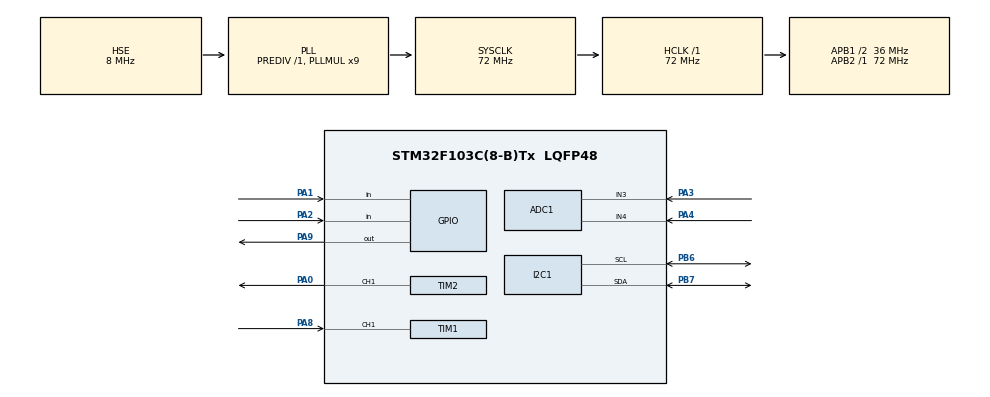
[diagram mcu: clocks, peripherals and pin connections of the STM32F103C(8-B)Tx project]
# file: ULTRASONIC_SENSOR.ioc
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ADC1.Channel-0\#ChannelRegularConversion=ADC_CHANNEL_3
ADC1.Channel-1\#ChannelRegularConversion=ADC_CHANNEL_4
ADC1.ContinuousConvMode=ENABLE
ADC1.NbrOfConversion=2
ADC1.NbrOfConversionFlag=1
ADC1.Rank-0\#ChannelRegularConversion=1
ADC1.Rank-1\#ChannelRegularConversion=2
ADC1.SamplingTime-0\#ChannelRegularConversion=ADC_SAMPLETIME_239CYCLES_5
ADC1.SamplingTime-1\#ChannelRegularConversion=ADC_SAMPLETIME_239CYCLES_5
ADC1.master=1
Dma.ADC1.0.Direction=DMA_PERIPH_TO_MEMORY
Dma.ADC1.0.Instance=DMA1_Channel1
Dma.ADC1.0.MemDataAlignment=DMA_MDATAALIGN_WORD
Dma.ADC1.0.MemInc=DMA_MINC_ENABLE
Dma.ADC1.0.Mode=DMA_CIRCULAR
Dma.ADC1.0.PeriphDataAlignment=DMA_PDATAALIGN_WORD
Dma.ADC1.0.PeriphInc=DMA_PINC_DISABLE
Dma.ADC1.0.Priority=DMA_PRIORITY_LOW
Dma.Request0=ADC1
Mcu.Family=STM32F1
Mcu.Name=STM32F103C(8-B)Tx
Mcu.Package=LQFP48
NVIC.DMA1_Channel1_IRQn=true\:0\:0\:false\:false\:true\:false\:true\:true
NVIC.PriorityGroup=NVIC_PRIORITYGROUP_4
NVIC.TIM1_BRK_IRQn=true\:0\:0\:false\:false\:true\:true\:true\:true
NVIC.TIM1_CC_IRQn=true\:0\:0\:false\:false\:true\:true\:true\:true
NVIC.TIM1_TRG_COM_IRQn=true\:0\:0\:false\:false\:true\:true\:true\:true
NVIC.TIM1_UP_IRQn=true\:0\:0\:false\:false\:true\:true\:true\:true
PA0-WKUP.Signal=S_TIM2_CH1_ETR
PA1.GPIO_PuPd=GPIO_PULLDOWN
PA1.Signal=GPIO_Input
PA13.Mode=Serial_Wire
PA13.Signal=SYS_JTMS-SWDIO
PA14.Mode=Serial_Wire
PA14.Signal=SYS_JTCK-SWCLK
PA2.GPIO_PuPd=GPIO_PULLDOWN
PA2.Signal=GPIO_Input
PA3.Signal=ADCx_IN3
PA4.Signal=ADCx_IN4
PA8.Signal=S_TIM1_CH1
PA9.Signal=GPIO_Output
PB6.Mode=I2C
PB6.Signal=I2C1_SCL
PB7.Mode=I2C
PB7.Signal=I2C1_SDA
PD0-OSC_IN.Mode=HSE-External-Oscillator
PD0-OSC_IN.Signal=RCC_OSC_IN
PD1-OSC_OUT.Mode=HSE-External-Oscillator
PD1-OSC_OUT.Signal=RCC_OSC_OUT
ProjectManager.HeapSize=0x200
ProjectManager.StackSize=0x400
ProjectManager.TargetToolchain=STM32CubeIDE
RCC.AHBFreq_Value=72000000
RCC.APB1CLKDivider=RCC_HCLK_DIV2
RCC.APB1Freq_Value=36000000
RCC.APB1TimFreq_Value=72000000
RCC.APB2Freq_Value=72000000
RCC.APB2TimFreq_Value=72000000
RCC.HCLKFreq_Value=72000000
RCC.PLLMUL=RCC_PLL_MUL9
RCC.PLLSourceVirtual=RCC_PLLSOURCE_HSE
RCC.SYSCLKFreq_VALUE=72000000
RCC.SYSCLKSource=RCC_SYSCLKSOURCE_PLLCLK
RCC.USBFreq_Value=72000000
SH.ADCx_IN3.0=ADC1_IN3,IN3
SH.ADCx_IN4.0=ADC1_IN4,IN4
SH.S_TIM1_CH1.0=TIM1_CH1,Input_Capture1_from_TI1
SH.S_TIM2_CH1_ETR.0=TIM2_CH1,PWM Generation1 CH1
TIM1.Channel-Input_Capture1_from_TI1=TIM_CHANNEL_1
TIM1.Period=0xffff-1
TIM1.Prescaler=72-1
TIM2.Channel-PWM\ Generation1\ CH1=TIM_CHANNEL_1
TIM2.Period=655
VP_TIM1_VS_ClockSourceINT.Mode=Internal
VP_TIM2_VS_ClockSourceINT.Mode=Internal
board=custom

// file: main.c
/* USER CODE BEGIN Header */
/**
  ******************************************************************************
  * @file           : main.c
  * @brief          : Main program body
  ******************************************************************************
  * @attention
  *
  * <h2><center>&copy; Copyright (c) 2020 STMicroelectronics.
  * All rights reserved.</center></h2>
  *
  * This software component is licensed by ST under BSD 3-Clause license,
  * the "License"; You may not use this file except in compliance with the
  * License. You may obtain a copy of the License at:
  *                        opensource.org/licenses/BSD-3-Clause
  *
  ******************************************************************************
  */
/* USER CODE END Header */
#include "main.h"

/* USER CODE BEGIN Includes */

#include "i2c-lcd.h"
#include "DC_MOTOR.h"
#include "JOYSTIC.h"

/* USER CODE END Includes */

ADC_HandleTypeDef hadc1;
DMA_HandleTypeDef hdma_adc1;

I2C_HandleTypeDef hi2c1;

TIM_HandleTypeDef htim1;
TIM_HandleTypeDef htim2;

void SystemClock_Config(void);
static void MX_GPIO_Init(void);
static void MX_DMA_Init(void);
static void MX_TIM1_Init(void);
static void MX_I2C1_Init(void);
static void MX_TIM2_Init(void);
static void MX_ADC1_Init(void);
/* USER CODE BEGIN PFP */

#define SYSTEM  AUTO

uint8_t Value_INCl; // Flag used to choose between automatic ACC,MANUAL CONTROL
uint8_t MANUAL_FLAG;
uint8_t AUTO_FLAG ;

uint8_t COUNTER_CHOICE = 0;

#define CRASH_DIST  3

/* USER CODE END PFP */

/* USER CODE BEGIN 0 */

void delay (uint16_t time)
{
	__HAL_TIM_SET_COUNTER(&htim1, 0);
	while (__HAL_TIM_GET_COUNTER (&htim1) < time);
}

uint8_t ICU_COUNTER = 0 ;
uint8_t B1_VAL;
uint8_t B2_VAL;
uint32_t ICU_VALUE ;

float Distance  = 0;
uint8_t Distance1 = 0;

#define TRIG_PIN GPIO_PIN_9
#define TRIG_PORT GPIOA

// Let's write the callback function

void ICU_CHECK_CALL()
{
	HAL_GPIO_WritePin(GPIOA, GPIO_PIN_9, 1);

}

void HAL_TIM_IC_CaptureCallback(TIM_HandleTypeDef *htim)
{

	ICU_CHECK_CALL();

	++ ICU_COUNTER ;

	if( ICU_COUNTER == 1 ) // Rising Edge is detected
	{
		/* 1 >> Clear the Timer Vlaue
		 * 2 >> Set The falling edge ICU
		 * 3 >> Set ICU COUNTER to 2
		 * **/

		__HAL_TIM_SET_COUNTER(htim,0);

		__HAL_TIM_SET_CAPTUREPOLARITY(htim,TIM_CHANNEL_1,TIM_INPUTCHANNELPOLARITY_FALLING);

	}

	else if(ICU_COUNTER == 2)
	{

		/* obtain the counter value
		 * Set Polarity as rising
		 * */

		ICU_VALUE  = HAL_TIM_ReadCapturedValue(htim, TIM_CHANNEL_1);

		__HAL_TIM_SET_CAPTUREPOLARITY(htim,TIM_CHANNEL_1,TIM_INPUTCHANNELPOLARITY_RISING);

		__HAL_TIM_SET_COUNTER(htim,0);

	}

	else
	{
		ICU_COUNTER = 0;
	}

}

void HCSR04_Read (void)
{
	HAL_GPIO_WritePin(TRIG_PORT, TRIG_PIN, GPIO_PIN_SET);  // pull the TRIG pin HIGH
	HAL_Delay(10);  // wait for 10 us
	HAL_GPIO_WritePin(TRIG_PORT, TRIG_PIN, GPIO_PIN_RESET);  // pull the TRIG pin low

	__HAL_TIM_ENABLE_IT(&htim1, TIM_IT_CC1);
}

void HCSR04_GETREAD()
{
	Distance =  (uint16_t)(ICU_VALUE / 58.5)  ;
}

void DELAY(uint32_t number)
{
	HAL_Delay(number);
}

uint8_t SYS_CHECKER()
{
	lcd_clear();
	lcd_put_cur(0, 0);
	lcd_send_string("1 >> MANUAL");
	lcd_put_cur(1, 0);
	lcd_send_string("2 >> AUTOMATIC");

	while(COUNTER_CHOICE == 0)
	{
		if(HAL_GPIO_ReadPin(GPIOA, GPIO_PIN_1) == 1)
		{
			COUNTER_CHOICE = 1;
			break;
		}

		if(HAL_GPIO_ReadPin(GPIOA, GPIO_PIN_2) == 1)
		{
			COUNTER_CHOICE = 2;
			break;
		}

	}

	return COUNTER_CHOICE;

}

void Critical_PADAL_MANUAL_CONTROL()
{
	/* Case the distance is less than 3 cm in manual control  */

	if(Distance <= CRASH_DIST)
	{
		DC_MOTOR_SetSpeed(0); // Suddenly stop the car
	}

	else
	{
		PEDAL_MANUAL_MOTOR_CONTROL();
	}
}

void MOTOLR_AUTOMATIC_CONTROL()
{

	/*
	 * Automatic controlling the motor speed based ULTRASONIC Readings
	 * */

	lcd_clear();
	lcd_put_cur(0, 0);
	lcd_send_string("Dist:");
	lcd_Send_num(Distance);

	lcd_put_cur(0, 9);
	lcd_send_string("AUTO");

	if(Distance <= CRASH_DIST )
	{
		DC_MOTOR_SetSpeed(0);
	}

	else if(Distance <= 10 && Distance >= 6  )
	{// ULTRASONIC READING IS ZERO
		DC_MOTOR_SetSpeed(150);
	}

	else if(Distance <= 11 && Distance >= 20)
	{// ULTRASONIC READING IS ZERO
		DC_MOTOR_SetSpeed(300);
	}

	else if(Distance <= 21 && Distance >= 41)
	{// ULTRASONIC READING IS ZERO

		DC_MOTOR_SetSpeed(400);
	}

	else
	{ // ULTRASONIC READING IS ZERO
		DC_MOTOR_SetSpeed(600);
	}

}

void PEDAL_MANUAL_MOTOR_CONTROL()
{

	lcd_clear();

	lcd_put_cur(0, 0);
	lcd_send_string("Dist:");
	lcd_Send_num(Distance);

	lcd_put_cur(0, 9);
	lcd_send_string("MANUAL");

	  if(PADAL_X_AXIS_READ() <= 500)
	  {
		  DC_MOTOR_SetSpeed(600);
	  }

	  else if(PADAL_X_AXIS_READ() != 0)
	  {
		  DC_MOTOR_SetSpeed(0);
	  }

	  if(Distance <= CRASH_DIST )
	  {
		  /*
		   * Crash Critical distance
		   * */
		  Critical_PADAL_MANUAL_CONTROL();
	  }

}

uint8_t RESULT;

void APP_START()
{
	  HCSR04_Read();
	  HCSR04_GETREAD();

	  RESULT =  SYS_CHECKER();

	  lcd_put_cur(0, 0);
	  lcd_send_string("Dist:");
	  lcd_put_cur(0, 6);
	  lcd_Send_num(Distance);

	  switch(RESULT)
	  {

	  case 1 : PEDAL_MANUAL_MOTOR_CONTROL();
		  break;
	  case 2 : MOTOLR_AUTOMATIC_CONTROL();
		  break;

	  }

	  lcd_put_cur(1, 0);
	  lcd_Send_num(PADAL_X_AXIS_READ());

	  HAL_Delay(250);
	  lcd_clear();

}

/* USER CODE END 0 */

int main(void)
{

  /* MCU Configuration--------------------------------------------------------*/

  /* Reset of all peripherals, Initializes the Flash interface and the Systick. */
  HAL_Init();

  /* Configure the system clock */
  SystemClock_Config();

  /* Initialize all configured peripherals */
  MX_GPIO_Init();
  MX_DMA_Init();
  MX_TIM1_Init();
  MX_I2C1_Init();
  MX_TIM2_Init();
  MX_ADC1_Init();
  /* USER CODE BEGIN 2 */
  HAL_TIM_IC_Start(&htim1,TIM_CHANNEL_1);
  lcd_init();
  DC_MOTOR_INTI();

  PADAL_START();

  /* USER CODE END 2 */

  /* Infinite loop */
  while (1)
  {

	  APP_START();

  }
}

void SystemClock_Config(void)
{
  RCC_OscInitTypeDef RCC_OscInitStruct = {0};
  RCC_ClkInitTypeDef RCC_ClkInitStruct = {0};
  RCC_PeriphCLKInitTypeDef PeriphClkInit = {0};

  /** Initializes the RCC Oscillators according to the specified parameters
  * in the RCC_OscInitTypeDef structure.
  */
  RCC_OscInitStruct.OscillatorType = RCC_OSCILLATORTYPE_HSE;
  RCC_OscInitStruct.HSEState = RCC_HSE_ON;
  RCC_OscInitStruct.HSEPredivValue = RCC_HSE_PREDIV_DIV1;
  RCC_OscInitStruct.HSIState = RCC_HSI_ON;
  RCC_OscInitStruct.PLL.PLLState = RCC_PLL_ON;
  RCC_OscInitStruct.PLL.PLLSource = RCC_PLLSOURCE_HSE;
  RCC_OscInitStruct.PLL.PLLMUL = RCC_PLL_MUL9;
  if (HAL_RCC_OscConfig(&RCC_OscInitStruct) != HAL_OK)
  {
    Error_Handler();
  }

  /** Initializes the CPU, AHB and APB buses clocks
  */
  RCC_ClkInitStruct.ClockType = RCC_CLOCKTYPE_HCLK|RCC_CLOCKTYPE_SYSCLK
                              |RCC_CLOCKTYPE_PCLK1|RCC_CLOCKTYPE_PCLK2;
  RCC_ClkInitStruct.SYSCLKSource = RCC_SYSCLKSOURCE_PLLCLK;
  RCC_ClkInitStruct.AHBCLKDivider = RCC_SYSCLK_DIV1;
  RCC_ClkInitStruct.APB1CLKDivider = RCC_HCLK_DIV2;
  RCC_ClkInitStruct.APB2CLKDivider = RCC_HCLK_DIV1;

  if (HAL_RCC_ClockConfig(&RCC_ClkInitStruct, FLASH_LATENCY_2) != HAL_OK)
  {
    Error_Handler();
  }
  PeriphClkInit.PeriphClockSelection = RCC_PERIPHCLK_ADC;
  PeriphClkInit.AdcClockSelection = RCC_ADCPCLK2_DIV2;
  if (HAL_RCCEx_PeriphCLKConfig(&PeriphClkInit) != HAL_OK)
  {
    Error_Handler();
  }
}

static void MX_ADC1_Init(void)
{

  ADC_ChannelConfTypeDef sConfig = {0};

  /** Common config
  */
  hadc1.Instance = ADC1;
  hadc1.Init.ScanConvMode = ADC_SCAN_ENABLE;
  hadc1.Init.ContinuousConvMode = ENABLE;
  hadc1.Init.DiscontinuousConvMode = DISABLE;
  hadc1.Init.ExternalTrigConv = ADC_SOFTWARE_START;
  hadc1.Init.DataAlign = ADC_DATAALIGN_RIGHT;
  hadc1.Init.NbrOfConversion = 2;
  if (HAL_ADC_Init(&hadc1) != HAL_OK)
  {
    Error_Handler();
  }

  /** Configure Regular Channel
  */
  sConfig.Channel = ADC_CHANNEL_3;
  sConfig.Rank = ADC_REGULAR_RANK_1;
  sConfig.SamplingTime = ADC_SAMPLETIME_239CYCLES_5;
  if (HAL_ADC_ConfigChannel(&hadc1, &sConfig) != HAL_OK)
  {
    Error_Handler();
  }

  /** Configure Regular Channel
  */
  sConfig.Channel = ADC_CHANNEL_4;
  sConfig.Rank = ADC_REGULAR_RANK_2;
  if (HAL_ADC_ConfigChannel(&hadc1, &sConfig) != HAL_OK)
  {
    Error_Handler();
  }

}

static void MX_I2C1_Init(void)
{

  hi2c1.Instance = I2C1;
  hi2c1.Init.ClockSpeed = 100000;
  hi2c1.Init.DutyCycle = I2C_DUTYCYCLE_2;
  hi2c1.Init.OwnAddress1 = 0;
  hi2c1.Init.AddressingMode = I2C_ADDRESSINGMODE_7BIT;
  hi2c1.Init.DualAddressMode = I2C_DUALADDRESS_DISABLE;
  hi2c1.Init.OwnAddress2 = 0;
  hi2c1.Init.GeneralCallMode = I2C_GENERALCALL_DISABLE;
  hi2c1.Init.NoStretchMode = I2C_NOSTRETCH_DISABLE;
  if (HAL_I2C_Init(&hi2c1) != HAL_OK)
  {
    Error_Handler();
  }

}

static void MX_TIM1_Init(void)
{

  TIM_ClockConfigTypeDef sClockSourceConfig = {0};
  TIM_MasterConfigTypeDef sMasterConfig = {0};
  TIM_IC_InitTypeDef sConfigIC = {0};

  htim1.Instance = TIM1;
  htim1.Init.Prescaler = 72-1;
  htim1.Init.CounterMode = TIM_COUNTERMODE_UP;
  htim1.Init.Period = 0xffff-1;
  htim1.Init.ClockDivision = TIM_CLOCKDIVISION_DIV1;
  htim1.Init.RepetitionCounter = 0;
  htim1.Init.AutoReloadPreload = TIM_AUTORELOAD_PRELOAD_DISABLE;
  if (HAL_TIM_Base_Init(&htim1) != HAL_OK)
  {
    Error_Handler();
  }
  sClockSourceConfig.ClockSource = TIM_CLOCKSOURCE_INTERNAL;
  if (HAL_TIM_ConfigClockSource(&htim1, &sClockSourceConfig) != HAL_OK)
  {
    Error_Handler();
  }
  if (HAL_TIM_IC_Init(&htim1) != HAL_OK)
  {
    Error_Handler();
  }
  sMasterConfig.MasterOutputTrigger = TIM_TRGO_RESET;
  sMasterConfig.MasterSlaveMode = TIM_MASTERSLAVEMODE_DISABLE;
  if (HAL_TIMEx_MasterConfigSynchronization(&htim1, &sMasterConfig) != HAL_OK)
  {
    Error_Handler();
  }
  sConfigIC.ICPolarity = TIM_INPUTCHANNELPOLARITY_RISING;
  sConfigIC.ICSelection = TIM_ICSELECTION_DIRECTTI;
  sConfigIC.ICPrescaler = TIM_ICPSC_DIV1;
  sConfigIC.ICFilter = 0;
  if (HAL_TIM_IC_ConfigChannel(&htim1, &sConfigIC, TIM_CHANNEL_1) != HAL_OK)
  {
    Error_Handler();
  }

}

static void MX_TIM2_Init(void)
{

  TIM_ClockConfigTypeDef sClockSourceConfig = {0};
  TIM_MasterConfigTypeDef sMasterConfig = {0};
  TIM_OC_InitTypeDef sConfigOC = {0};

  htim2.Instance = TIM2;
  htim2.Init.Prescaler = 0;
  htim2.Init.CounterMode = TIM_COUNTERMODE_UP;
  htim2.Init.Period = 655;
  htim2.Init.ClockDivision = TIM_CLOCKDIVISION_DIV1;
  htim2.Init.AutoReloadPreload = TIM_AUTORELOAD_PRELOAD_DISABLE;
  if (HAL_TIM_Base_Init(&htim2) != HAL_OK)
  {
    Error_Handler();
  }
  sClockSourceConfig.ClockSource = TIM_CLOCKSOURCE_INTERNAL;
  if (HAL_TIM_ConfigClockSource(&htim2, &sClockSourceConfig) != HAL_OK)
  {
    Error_Handler();
  }
  if (HAL_TIM_PWM_Init(&htim2) != HAL_OK)
  {
    Error_Handler();
  }
  sMasterConfig.MasterOutputTrigger = TIM_TRGO_RESET;
  sMasterConfig.MasterSlaveMode = TIM_MASTERSLAVEMODE_DISABLE;
  if (HAL_TIMEx_MasterConfigSynchronization(&htim2, &sMasterConfig) != HAL_OK)
  {
    Error_Handler();
  }
  sConfigOC.OCMode = TIM_OCMODE_PWM1;
  sConfigOC.Pulse = 0;
  sConfigOC.OCPolarity = TIM_OCPOLARITY_HIGH;
  sConfigOC.OCFastMode = TIM_OCFAST_DISABLE;
  if (HAL_TIM_PWM_ConfigChannel(&htim2, &sConfigOC, TIM_CHANNEL_1) != HAL_OK)
  {
    Error_Handler();
  }
  HAL_TIM_MspPostInit(&htim2);

}

static void MX_DMA_Init(void)
{

  /* DMA controller clock enable */
  __HAL_RCC_DMA1_CLK_ENABLE();

  /* DMA interrupt init */
  /* DMA1_Channel1_IRQn interrupt configuration */
  HAL_NVIC_SetPriority(DMA1_Channel1_IRQn, 0, 0);
  HAL_NVIC_EnableIRQ(DMA1_Channel1_IRQn);

}

static void MX_GPIO_Init(void)
{
  GPIO_InitTypeDef GPIO_InitStruct = {0};

  /* GPIO Ports Clock Enable */
  __HAL_RCC_GPIOD_CLK_ENABLE();
  __HAL_RCC_GPIOA_CLK_ENABLE();
  __HAL_RCC_GPIOB_CLK_ENABLE();

  /*Configure GPIO pin Output Level */
  HAL_GPIO_WritePin(GPIOA, GPIO_PIN_9, GPIO_PIN_RESET);

  /*Configure GPIO pins : PA1 PA2 */
  GPIO_InitStruct.Pin = GPIO_PIN_1|GPIO_PIN_2;
  GPIO_InitStruct.Mode = GPIO_MODE_INPUT;
  GPIO_InitStruct.Pull = GPIO_PULLDOWN;
  HAL_GPIO_Init(GPIOA, &GPIO_InitStruct);

  /*Configure GPIO pin : PA9 */
  GPIO_InitStruct.Pin = GPIO_PIN_9;
  GPIO_InitStruct.Mode = GPIO_MODE_OUTPUT_PP;
  GPIO_InitStruct.Pull = GPIO_NOPULL;
  GPIO_InitStruct.Speed = GPIO_SPEED_FREQ_LOW;
  HAL_GPIO_Init(GPIOA, &GPIO_InitStruct);

}

void Error_Handler(void)
{
}
